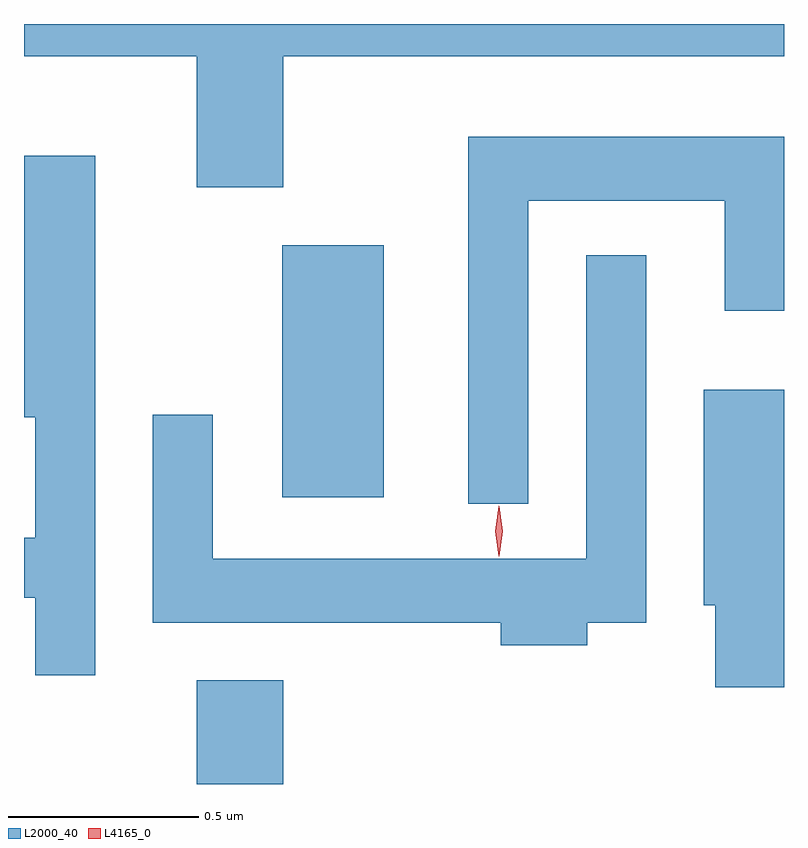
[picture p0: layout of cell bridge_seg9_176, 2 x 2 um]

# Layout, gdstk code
import gdstk
lib = gdstk.Library(unit=1e-6, precision=1e-09)
def R(c, l, rs):  # rectangles x0, y0, x1, y1
    for r in rs: c.add(gdstk.rectangle(r[:2], r[2:], *l))
def P(c, l, *ps):  # polygons
    for p in ps: c.add(gdstk.Polygon(p, *l))
L2000_40 = (2000, 40)
L4165_0 = (4165, 0)

bridge_seg9_176 = lib.new_cell('bridge_seg9_176')
R(bridge_seg9_176, L2000_40, [(1440.851,2067.601,1441.079,2067.874), (1441.076,2068.356,1441.344,2069.019)])
P(bridge_seg9_176, L2000_40, [(1441.079,2069.516),(1442.397,2069.516),(1442.397,2069.601),(1440.397,2069.601),(1440.397,2069.516),(1440.851,2069.516),(1440.851,2069.171),(1441.079,2069.171)],
  [(1441.724,2069.136),(1442.241,2069.136),(1442.241,2068.846),(1442.397,2068.846),(1442.397,2069.304),(1441.566,2069.304),(1441.566,2068.338),(1441.724,2068.338)],
  [(1440.584,2069.254),(1440.397,2069.254),(1440.397,2068.566),(1440.426,2068.566),(1440.426,2068.249),(1440.397,2068.249),(1440.397,2068.091),(1440.426,2068.091),(1440.426,2067.887),(1440.584,2067.887)],
  [(1441.879,2068.026),(1442.034,2068.026),(1442.034,2068.992),(1441.876,2068.992),(1441.876,2068.194),(1440.894,2068.194),(1440.894,2068.573),(1440.736,2068.573),(1440.736,2068.026),(1441.651,2068.026),(1441.651,2067.966),(1441.879,2067.966)],
  [(1442.397,2068.639),(1442.186,2068.639),(1442.186,2068.071),(1442.216,2068.071),(1442.216,2067.856),(1442.397,2067.856)])
P(bridge_seg9_176, L4165_0, [(1441.646,2068.2),(1441.637,2068.266),(1441.646,2068.332),(1441.646,2068.333),(1441.647,2068.332),(1441.657,2068.266),(1441.647,2068.2),(1441.647,2068.2)])

lib.write_gds('bridge_seg9_176.gds')
